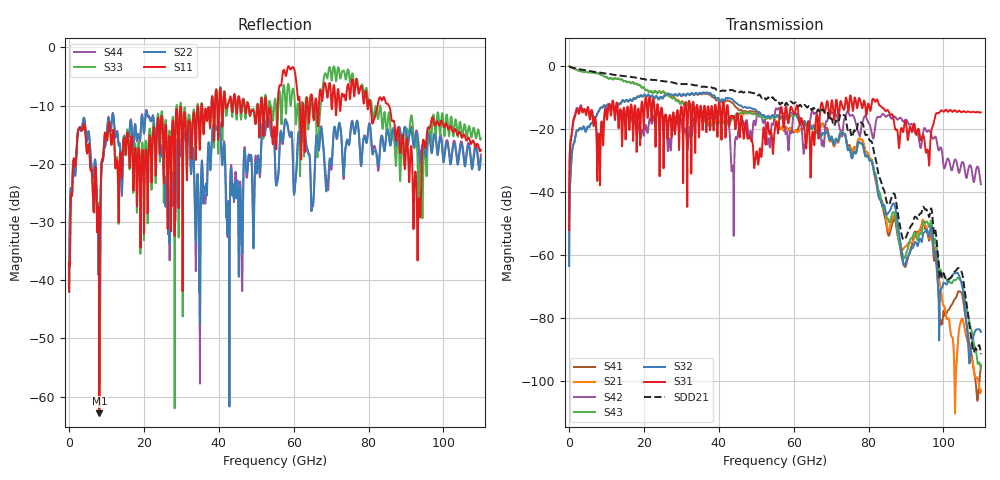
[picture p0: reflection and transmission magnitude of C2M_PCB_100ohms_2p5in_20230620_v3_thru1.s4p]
! Info: Touchstone file created by Circ.  Input file=C2M_PCB_100ohms_2p5in_20230620_v3.circ
# Hz S RI R 50
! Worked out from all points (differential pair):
!   11000 points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, 10 MHz to 110 GHz, reference 50 ohm
!   strongest paths, dB at 10 MHz, 27.51 GHz, 55.01 GHz, 82.51 GHz, 110 GHz:
!     S31: -52.1, -20.1, -19.8, -11.3, -14.7
!     S32: -63.4, -9.1, -16.2, -40.6, -84.5
!     S43: -0.1, -10.3, -16.5, -38.9, -96.3
!     S42: -52.0, -20.0, -14.5, -16.1, -37.6
!     S21: -0.1, -10.0, -17.2, -40.2, -102.9
!     S41: -63.4, -9.2, -17.4, -39.0, -95.1
!   taken as a pair (ports 3,1 in; 4,2 out), SDD21 dB: -0.1, -5.3, -10.8, -33.6, -91.6
!   lowest |S11| = -62.9 dB at 8.1 GHz (marker M1), VSWR 1.00, Z = 50.1 - j0.029 ohm
!   |S11| at or under -10 dB: start of sweep to 35.34 GHz; 52.71 GHz to 55.71 GHz (3.003 GHz wide, 5.54 % of centre); 85.43 GHz to end of sweep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
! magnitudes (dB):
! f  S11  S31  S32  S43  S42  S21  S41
! 10 MHz  -41.9  -52.1  -63.4  -0.1  -52.0  -0.1  -63.4
! 1.87 GHz  -19.3  -14.5  -21.2  -1.1  -13.9  -1.1  -21.2
! 8.1 GHz  -62.9  -25.0  -14.0  -2.5  -25.0  -2.5  -14.0
! 11.59 GHz  -15.3  -11.2  -12.9  -4.3  -13.0  -4.2  -12.9
! 77.93 GHz  -6.7  -11.6  -24.5  -24.6  -20.4  -23.2  -23.3
! 89.49 GHz  -18.5  -19.1  -63.4  -61.1  -17.5  -57.7  -63.5
! 110 GHz  -17.6  -14.7  -84.5  -96.3  -37.6  -102.9  -95.1
